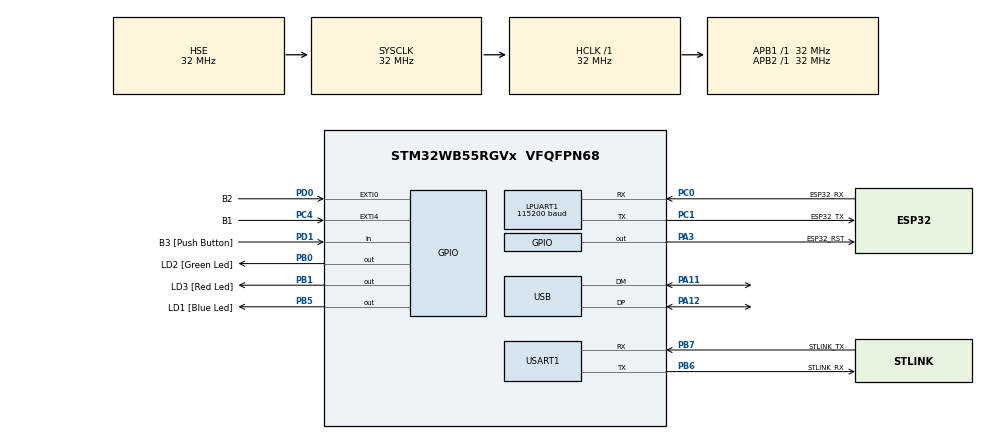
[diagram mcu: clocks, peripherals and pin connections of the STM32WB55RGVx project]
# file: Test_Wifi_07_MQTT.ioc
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ADC1.Channel-0\#ChannelRegularConversion=ADC_CHANNEL_TEMPSENSOR
ADC1.NbrOfConversionFlag=1
ADC1.OffsetNumber-0\#ChannelRegularConversion=ADC_OFFSET_NONE
ADC1.Rank-0\#ChannelRegularConversion=1
ADC1.SamplingTime-0\#ChannelRegularConversion=ADC_SAMPLETIME_640CYCLES_5
ADC1.master=1
Dma.LPUART1_RX.0.Direction=DMA_PERIPH_TO_MEMORY
Dma.LPUART1_RX.0.EventEnable=DISABLE
Dma.LPUART1_RX.0.Instance=DMA1_Channel1
Dma.LPUART1_RX.0.MemDataAlignment=DMA_MDATAALIGN_BYTE
Dma.LPUART1_RX.0.MemInc=DMA_MINC_ENABLE
Dma.LPUART1_RX.0.Mode=DMA_NORMAL
Dma.LPUART1_RX.0.PeriphDataAlignment=DMA_PDATAALIGN_BYTE
Dma.LPUART1_RX.0.PeriphInc=DMA_PINC_DISABLE
Dma.LPUART1_RX.0.Polarity=HAL_DMAMUX_REQ_GEN_RISING
Dma.LPUART1_RX.0.Priority=DMA_PRIORITY_LOW
Dma.LPUART1_RX.0.RequestNumber=1
Dma.LPUART1_RX.0.SignalID=NONE
Dma.LPUART1_RX.0.SyncEnable=DISABLE
Dma.LPUART1_RX.0.SyncPolarity=HAL_DMAMUX_SYNC_NO_EVENT
Dma.LPUART1_RX.0.SyncRequestNumber=1
Dma.LPUART1_RX.0.SyncSignalID=NONE
Dma.Request0=LPUART1_RX
LPUART1.BaudRate=115200
Mcu.Family=STM32WB
Mcu.Name=STM32WB55RGVx
Mcu.Package=VFQFPN68
NVIC.DMA1_Channel1_IRQn=true\:0\:0\:false\:false\:true\:false\:true\:true
NVIC.EXTI0_IRQn=true\:0\:0\:false\:false\:true\:true\:true\:true
NVIC.EXTI4_IRQn=true\:0\:0\:false\:false\:true\:true\:true\:true
NVIC.LPUART1_IRQn=true\:0\:0\:false\:false\:true\:true\:true\:true
NVIC.PriorityGroup=NVIC_PRIORITYGROUP_4
OSC_IN.Mode=HSE-External-Oscillator
OSC_IN.Signal=RCC_OSC_IN
OSC_OUT.Mode=HSE-External-Oscillator
OSC_OUT.Signal=RCC_OSC_OUT
PA11.Mode=Device
PA11.Signal=USB_DM
PA12.Mode=Device
PA12.Signal=USB_DP
PA13.GPIO_Label=JTMS
PA13.Mode=Trace_Asynchronous_SW
PA13.Signal=SYS_JTMS-SWDIO
PA14.GPIO_Label=JTCK
PA14.Mode=Trace_Asynchronous_SW
PA14.Signal=SYS_JTCK-SWCLK
PA3.GPIO_Label=ESP32_RST
PA3.Signal=GPIO_Output
PB0.GPIO_Label=LD2 [Green Led]
PB0.Signal=GPIO_Output
PB1.GPIO_Label=LD3 [Red Led]
PB1.Signal=GPIO_Output
PB3.GPIO_Label=JTDO
PB3.Mode=Trace_Asynchronous_SW
PB3.Signal=SYS_JTDO-SWO
PB5.GPIO_Label=LD1 [Blue Led]
PB5.Signal=GPIO_Output
PB6.GPIO_Label=STLINK_RX
PB6.GPIO_PuPd=GPIO_PULLUP
PB6.Mode=Asynchronous
PB6.Signal=USART1_TX
PB7.GPIO_Label=STLINK_TX
PB7.GPIO_PuPd=GPIO_PULLUP
PB7.Mode=Asynchronous
PB7.Signal=USART1_RX
PC0.GPIO_Label=ESP32_RX
PC0.Mode=Asynchronous
PC0.Signal=LPUART1_RX
PC1.GPIO_Label=ESP32_TX
PC1.Mode=Asynchronous
PC1.Signal=LPUART1_TX
PC13.Mode=SYS_WakeUp1
PC13.Signal=SYS_WKUP2
PC14-OSC32_IN.Mode=LSE-External-Oscillator
PC14-OSC32_IN.Signal=RCC_OSC32_IN
PC15-OSC32_OUT.Mode=LSE-External-Oscillator
PC15-OSC32_OUT.Signal=RCC_OSC32_OUT
PC4.GPIO_Label=B1
PC4.GPIO_PuPd=GPIO_PULLUP
PC4.Signal=GPXTI4
PD0.GPIO_Label=B2
PD0.GPIO_PuPd=GPIO_PULLUP
PD0.Signal=GPXTI0
PD1.GPIO_Label=B3 [Push Button]
PD1.GPIO_PuPd=GPIO_PULLUP
PD1.Signal=GPIO_Input
ProjectManager.HeapSize=0x200
ProjectManager.StackSize=0x400
ProjectManager.TargetToolchain=STM32CubeIDE
RCC.ADCFreq_Value=48000000
RCC.AHBFreq_Value=32000000
RCC.APB1Freq_Value=32000000
RCC.APB1TimFreq_Value=32000000
RCC.APB2Freq_Value=32000000
RCC.APB2TimFreq_Value=32000000
RCC.APB3Freq_Value=16000000
RCC.CortexFreq_Value=32000000
RCC.HCLKFreq_Value=32000000
RCC.HSE_VALUE=32000000
RCC.HSI48_VALUE=48000000
RCC.HSI_VALUE=16000000
RCC.LSE_Drive_Capability=RCC_LSEDRIVE_LOW
RCC.PLLN=32
RCC.PLLSAI1N=24
RCC.SMPSCLockSelectionVirtual=RCC_SMPSCLKSOURCE_HSI
RCC.SMPSCLockSelectionVirtualVirtual=RCC_SMPSCLKSOURCE_HSI
RCC.SMPSDivider=1
RCC.SYSCLKFreq_VALUE=32000000
RCC.SYSCLKSource=RCC_SYSCLKSOURCE_HSE
RCC.USBFreq_Value=48000000
RCC.VCOOutputFreq_Value=128000000
TIM17.Period=30000
TIM17.Prescaler=32000
USART1.VirtualMode-Asynchronous=VM_ASYNC
USART1.WordLength=WORDLENGTH_7B
VP_ADC1_TempSens_Input.Mode=IN-TempSens
VP_TIM17_VS_ClockSourceINT.Mode=Enable_Timer
board=NUCLEO-WB55RG

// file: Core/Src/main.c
/* USER CODE BEGIN Header */
/**
  ******************************************************************************
  * @file           : main.c
  * @brief          : Main program body
  ******************************************************************************
  * @attention
  *
  * Copyright (c) 2023 STMicroelectronics.
  * All rights reserved.
  *
  * This software is licensed under terms that can be found in the LICENSE file
  * in the root directory of this software component.
  * If no LICENSE file comes with this software, it is provided AS-IS.
  *
  ******************************************************************************
  */
/* USER CODE END Header */
#include "main.h"

/* USER CODE BEGIN Includes */
#include "stdio.h"
#include "esp8266.h"
#include "parson.h"
#include "stm32wbxx_ll_adc.h"
/* USER CODE END Includes */

/* USER CODE BEGIN PD */
typedef enum _button_interface
{
	NONE,
	B1,
	B2,
}button_interface;
/* USER CODE END PD */

ADC_HandleTypeDef hadc1;

UART_HandleTypeDef hlpuart1;
UART_HandleTypeDef huart1;
DMA_HandleTypeDef hdma_lpuart1_rx;

TIM_HandleTypeDef htim17;

PCD_HandleTypeDef hpcd_USB_FS;

/* USER CODE BEGIN PV */
uint16_t button_pushed = NONE;
/* USER CODE END PV */

void SystemClock_Config(void);
void PeriphCommonClock_Config(void);
static void MX_GPIO_Init(void);
static void MX_DMA_Init(void);
static void MX_USART1_UART_Init(void);
static void MX_USB_PCD_Init(void);
static void MX_LPUART1_UART_Init(void);
static void MX_ADC1_Init(void);
static void MX_TIM17_Init(void);

/* USER CODE BEGIN 0 */
void init_done()
{
	for(int i=0; i<3; i++)
	{
		HAL_GPIO_TogglePin(LD1_GPIO_Port, LD1_Pin);
		HAL_Delay(200);
		HAL_GPIO_TogglePin(LD2_GPIO_Port, LD2_Pin);
		HAL_Delay(200);
		HAL_GPIO_TogglePin(LD3_GPIO_Port, LD3_Pin);
		HAL_Delay(200);
	}
	HAL_GPIO_WritePin(LD1_GPIO_Port, LD1_Pin, RESET);
	HAL_GPIO_WritePin(LD2_GPIO_Port, LD2_Pin, RESET);
	HAL_GPIO_WritePin(LD3_GPIO_Port, LD3_Pin, RESET);
}

static HAL_StatusTypeDef acq_internal_temp(uint16_t *temperature)
{
	HAL_StatusTypeDef ret = HAL_OK;
	HAL_ADCEx_Calibration_Start(&hadc1, ADC_SINGLE_ENDED);
	if((ret = HAL_ADC_Start(&hadc1)) != HAL_OK)
		return ret;
	HAL_Delay(1);
	*temperature = __LL_ADC_CALC_TEMPERATURE(3300, HAL_ADC_GetValue(&hadc1), LL_ADC_RESOLUTION_12B);
	if((ret = HAL_ADC_Stop(&hadc1)) != HAL_OK)
		return ret;
	return ret;
}

static char* formate_json_button(int value)
{
	JSON_Value *val = json_value_init_object();
	if(val == NULL)
		return NULL;

	JSON_Object *obj = json_value_get_object(val);
	if(obj == NULL)
		return NULL;

	if(json_object_set_number(obj, "id", value) != JSONSuccess)
		return NULL;

	char* serialized_string = json_serialize_to_string(val);

	json_value_free(val);

	return serialized_string;
}

static char* formate_json_temp(int value)
{
	JSON_Value *val = json_value_init_object();
	if(val == NULL)
		return NULL;

	JSON_Object *obj = json_value_get_object(val);
	if(obj == NULL)
		return NULL;

	if(json_object_set_number(obj, "value", value) != JSONSuccess)
		return NULL;

	char* serialized_string = json_serialize_to_string(val);

	json_value_free(val);

	return serialized_string;
}

static int check_subscription()
{
	if (UART_ESP32_RecvEndFlag == 1) {
		char pattern[24];
		memset(pattern, 0, sizeof(pattern));
		//sprintf((char*) pattern, "+MQTTSUBRECV:0,\"isen%s/led\",", CARD_NUMBER);
		sprintf((char*) pattern, "+MQTTSUBRECV:0,\"%s/", MQTT_CLIENTID);
		uint16_t data_size = 0, off = sizeof(pattern)-1; // \0 not needed
		if (strstr((const char*) UART_ESP32_RxBUF, pattern) != NULL) {
			printf("APP: Match succeed\r\n");
			int topic_id = 0;
			// nul mais ok
			if(UART_ESP32_RxBUF[off] == 'l')
			{
				topic_id = 1;
				off+= 5;
			}
			else
			{
				topic_id = 2;
				off+= 9;
			}

			if(topic_id == 1)
			{
				data_size = atoi(&UART_ESP32_RxBUF[off]);
				if(data_size < 10)
					off+=2;
				else
					off+=3;
				uint8_t data[data_size];
				memcpy(data,&UART_ESP32_RxBUF[off],data_size);
				memset(UART_ESP32_RxBUF, 0, UART_ESP32_MAX_RECVLEN);

				UART_ESP32_RxLen = 0;
				UART_ESP32_RecvEndFlag = 0;
				HAL_UART_Receive_DMA(&hlpuart1, UART_ESP32_RxBUF, UART_ESP32_MAX_RECVLEN);

				JSON_Value *val = json_parse_string(data);
				JSON_Object *obj = json_value_get_object(val);
				int led_id = json_object_get_number (obj, "id");
				int led_state = json_object_get_number (obj, "state");
				json_value_free(val);
				switch(led_id)
				{
				case 1:
					if(led_state)
						HAL_GPIO_WritePin(LD1_GPIO_Port, LD1_Pin, SET);
					else
						HAL_GPIO_WritePin(LD1_GPIO_Port, LD1_Pin, RESET);
					break;
				case 2:
					if(led_state)
						HAL_GPIO_WritePin(LD2_GPIO_Port, LD2_Pin, SET);
					else
						HAL_GPIO_WritePin(LD2_GPIO_Port, LD2_Pin, RESET);
					break;
				case 3:
					if(led_state)
						HAL_GPIO_WritePin(LD3_GPIO_Port, LD3_Pin, SET);
					else
						HAL_GPIO_WritePin(LD3_GPIO_Port, LD3_Pin, RESET);
					break;
				default:
					printf("Bad led_id %d\n",led_id);
					break;
				}
			}
			else if(topic_id == 2)
			{
				// PUB ADC temperature
				uint16_t temp = 0;
				acq_internal_temp(&temp);
				char *data = formate_json_temp((int)temp);
				if(esp8266_Publish_Temp_BrokerMQTT((uint8_t*)data,strlen(data)) != _PUBLISH_TEMP_MQTT)
					printf("APP: TEMP esp8266_Publish_BrokerMQTT() failed\n");
				json_free_serialized_string(data);
			}
			else
				printf("topic_id unknown %d\n",topic_id);

			return 0;
		}
		else
		{
			printf("APP: Match failed\r\n");
			return -1;
		}
	}
	else
	{
		return 1;
	}
}

/* USER CODE END 0 */

int main(void)
{

  /* MCU Configuration--------------------------------------------------------*/

  /* Reset of all peripherals, Initializes the Flash interface and the Systick. */
  HAL_Init();

  /* Configure the system clock */
  SystemClock_Config();

/* Configure the peripherals common clocks */
  PeriphCommonClock_Config();

  /* Initialize all configured peripherals */
  MX_GPIO_Init();
  MX_DMA_Init();
  MX_USART1_UART_Init();
  MX_USB_PCD_Init();
  MX_LPUART1_UART_Init();
  MX_ADC1_Init();
  MX_TIM17_Init();
  /* USER CODE BEGIN 2 */
  if (esp8266_SetupIP() != _SUCCEED) {
	  printf("esp8266_SetupIP failed - RESTART and configure WIFI source\n");
	  while(1)
	  {
		  HAL_GPIO_TogglePin(LD3_GPIO_Port, LD3_Pin);
		  HAL_Delay(200);
	  }
  }

  if(esp8266_SetupConnect_BrokerMQTT() != _SUCCEED_MQTT)
  {
	  printf("esp8266_SetupConnect_BrokerMQTT failed - RESTART and configure MQTT\n");
	  while(1)
	  {
		  HAL_GPIO_TogglePin(LD3_GPIO_Port, LD3_Pin);
		  HAL_Delay(200);
	  }
  }
  /* USER CODE END 2 */

  /* Infinite loop */
  while (1)
  {

    /* USER CODE BEGIN 3 */
	  init_done();
	  //click button to start
	  printf("Waiting to start...\n");
	  while(HAL_GPIO_ReadPin(B3_GPIO_Port, B3_Pin) != GPIO_PIN_RESET)
	  {
		  HAL_GPIO_TogglePin(LD1_GPIO_Port, LD1_Pin);
		  HAL_Delay(100);
	  }
	  HAL_GPIO_WritePin(LD1_GPIO_Port, LD1_Pin, RESET);

	  printf("App started...\n");

	  // app part
	  while(1)
	  {
		  if(get_mqtt_state() < _SUBSCRIBED_LED_MQTT)
		  {
			  if(esp8266_Subscribe_Led_BrokerMQTT() != _SUBSCRIBED_LED_MQTT)
				printf("APP: esp8266_Subscribe_Led_BrokerMQTT() failed\n");
		  }
		  if(get_mqtt_state() < _SUBSCRIBED_TEMP_MQTT)
		  {
			  if(esp8266_Subscribe_Temp_BrokerMQTT() != _SUBSCRIBED_TEMP_MQTT)
		  		printf("APP: esp8266_Subscribe_Temp_BrokerMQTT() failed\n");
		  }

		  //
		  switch(button_pushed)
		  {
		  case B1:
		  {
			  char *data = formate_json_button(1);
			  if(esp8266_Publish_Button_BrokerMQTT((uint8_t*)data,strlen(data)) != _PUBLISH_BUTTON_MQTT)
				printf("APP: B1 esp8266_Publish_Button_BrokerMQTT() failed\n");
			  json_free_serialized_string(data);
		  }
			  break;
		  case B2:
		  {
			  char *data = formate_json_button(2);
			  if(esp8266_Publish_Button_BrokerMQTT((uint8_t*)data,strlen(data)) != _PUBLISH_BUTTON_MQTT)
				printf("APP: B2 esp8266_Publish_Button_BrokerMQTT() failed\n");
		  }
			  break;
		  }
		  button_pushed = NONE;

		  int sub_status = check_subscription();
		  if(sub_status == 0)
			  printf("APP: check_subscription() SUB MQTT RCV\n");
	  }
  }
  /* USER CODE END 3 */
}

void SystemClock_Config(void)
{
  RCC_OscInitTypeDef RCC_OscInitStruct = {0};
  RCC_ClkInitTypeDef RCC_ClkInitStruct = {0};

  /** Macro to configure the PLL multiplication factor
  */
  __HAL_RCC_PLL_PLLM_CONFIG(RCC_PLLM_DIV1);

  /** Macro to configure the PLL clock source
  */
  __HAL_RCC_PLL_PLLSOURCE_CONFIG(RCC_PLLSOURCE_MSI);

  /** Configure LSE Drive Capability
  */
  HAL_PWR_EnableBkUpAccess();
  __HAL_RCC_LSEDRIVE_CONFIG(RCC_LSEDRIVE_LOW);

  /** Configure the main internal regulator output voltage
  */
  __HAL_PWR_VOLTAGESCALING_CONFIG(PWR_REGULATOR_VOLTAGE_SCALE1);

  /** Initializes the RCC Oscillators according to the specified parameters
  * in the RCC_OscInitTypeDef structure.
  */
  RCC_OscInitStruct.OscillatorType = RCC_OSCILLATORTYPE_HSI|RCC_OSCILLATORTYPE_HSE
                              |RCC_OSCILLATORTYPE_LSE|RCC_OSCILLATORTYPE_MSI;
  RCC_OscInitStruct.HSEState = RCC_HSE_ON;
  RCC_OscInitStruct.LSEState = RCC_LSE_ON;
  RCC_OscInitStruct.HSIState = RCC_HSI_ON;
  RCC_OscInitStruct.MSIState = RCC_MSI_ON;
  RCC_OscInitStruct.HSICalibrationValue = RCC_HSICALIBRATION_DEFAULT;
  RCC_OscInitStruct.MSICalibrationValue = RCC_MSICALIBRATION_DEFAULT;
  RCC_OscInitStruct.MSIClockRange = RCC_MSIRANGE_6;
  RCC_OscInitStruct.PLL.PLLState = RCC_PLL_NONE;
  if (HAL_RCC_OscConfig(&RCC_OscInitStruct) != HAL_OK)
  {
    Error_Handler();
  }

  /** Configure the SYSCLKSource, HCLK, PCLK1 and PCLK2 clocks dividers
  */
  RCC_ClkInitStruct.ClockType = RCC_CLOCKTYPE_HCLK4|RCC_CLOCKTYPE_HCLK2
                              |RCC_CLOCKTYPE_HCLK|RCC_CLOCKTYPE_SYSCLK
                              |RCC_CLOCKTYPE_PCLK1|RCC_CLOCKTYPE_PCLK2;
  RCC_ClkInitStruct.SYSCLKSource = RCC_SYSCLKSOURCE_HSE;
  RCC_ClkInitStruct.AHBCLKDivider = RCC_SYSCLK_DIV1;
  RCC_ClkInitStruct.APB1CLKDivider = RCC_HCLK_DIV1;
  RCC_ClkInitStruct.APB2CLKDivider = RCC_HCLK_DIV1;
  RCC_ClkInitStruct.AHBCLK2Divider = RCC_SYSCLK_DIV1;
  RCC_ClkInitStruct.AHBCLK4Divider = RCC_SYSCLK_DIV1;

  if (HAL_RCC_ClockConfig(&RCC_ClkInitStruct, FLASH_LATENCY_1) != HAL_OK)
  {
    Error_Handler();
  }

  /** Enable MSI Auto calibration
  */
  HAL_RCCEx_EnableMSIPLLMode();
}

void PeriphCommonClock_Config(void)
{
  RCC_PeriphCLKInitTypeDef PeriphClkInitStruct = {0};

  /** Initializes the peripherals clock
  */
  PeriphClkInitStruct.PeriphClockSelection = RCC_PERIPHCLK_SMPS|RCC_PERIPHCLK_USB
                              |RCC_PERIPHCLK_ADC;
  PeriphClkInitStruct.PLLSAI1.PLLN = 24;
  PeriphClkInitStruct.PLLSAI1.PLLP = RCC_PLLP_DIV2;
  PeriphClkInitStruct.PLLSAI1.PLLQ = RCC_PLLQ_DIV2;
  PeriphClkInitStruct.PLLSAI1.PLLR = RCC_PLLR_DIV2;
  PeriphClkInitStruct.PLLSAI1.PLLSAI1ClockOut = RCC_PLLSAI1_USBCLK|RCC_PLLSAI1_ADCCLK;
  PeriphClkInitStruct.UsbClockSelection = RCC_USBCLKSOURCE_PLLSAI1;
  PeriphClkInitStruct.AdcClockSelection = RCC_ADCCLKSOURCE_PLLSAI1;
  PeriphClkInitStruct.SmpsClockSelection = RCC_SMPSCLKSOURCE_HSI;
  PeriphClkInitStruct.SmpsDivSelection = RCC_SMPSCLKDIV_RANGE0;

  if (HAL_RCCEx_PeriphCLKConfig(&PeriphClkInitStruct) != HAL_OK)
  {
    Error_Handler();
  }
}

static void MX_ADC1_Init(void)
{

  ADC_ChannelConfTypeDef sConfig = {0};

  /** Common config
  */
  hadc1.Instance = ADC1;
  hadc1.Init.ClockPrescaler = ADC_CLOCK_ASYNC_DIV1;
  hadc1.Init.Resolution = ADC_RESOLUTION_12B;
  hadc1.Init.DataAlign = ADC_DATAALIGN_RIGHT;
  hadc1.Init.ScanConvMode = ADC_SCAN_DISABLE;
  hadc1.Init.EOCSelection = ADC_EOC_SINGLE_CONV;
  hadc1.Init.LowPowerAutoWait = DISABLE;
  hadc1.Init.ContinuousConvMode = DISABLE;
  hadc1.Init.NbrOfConversion = 1;
  hadc1.Init.DiscontinuousConvMode = DISABLE;
  hadc1.Init.ExternalTrigConv = ADC_SOFTWARE_START;
  hadc1.Init.ExternalTrigConvEdge = ADC_EXTERNALTRIGCONVEDGE_NONE;
  hadc1.Init.DMAContinuousRequests = DISABLE;
  hadc1.Init.Overrun = ADC_OVR_DATA_PRESERVED;
  hadc1.Init.OversamplingMode = DISABLE;
  if (HAL_ADC_Init(&hadc1) != HAL_OK)
  {
    Error_Handler();
  }

  /** Configure Regular Channel
  */
  sConfig.Channel = ADC_CHANNEL_TEMPSENSOR;
  sConfig.Rank = ADC_REGULAR_RANK_1;
  sConfig.SamplingTime = ADC_SAMPLETIME_640CYCLES_5;
  sConfig.SingleDiff = ADC_SINGLE_ENDED;
  sConfig.OffsetNumber = ADC_OFFSET_NONE;
  sConfig.Offset = 0;
  if (HAL_ADC_ConfigChannel(&hadc1, &sConfig) != HAL_OK)
  {
    Error_Handler();
  }

}

static void MX_LPUART1_UART_Init(void)
{

  hlpuart1.Instance = LPUART1;
  hlpuart1.Init.BaudRate = 115200;
  hlpuart1.Init.WordLength = UART_WORDLENGTH_8B;
  hlpuart1.Init.StopBits = UART_STOPBITS_1;
  hlpuart1.Init.Parity = UART_PARITY_NONE;
  hlpuart1.Init.Mode = UART_MODE_TX_RX;
  hlpuart1.Init.HwFlowCtl = UART_HWCONTROL_NONE;
  hlpuart1.Init.OneBitSampling = UART_ONE_BIT_SAMPLE_DISABLE;
  hlpuart1.Init.ClockPrescaler = UART_PRESCALER_DIV1;
  hlpuart1.AdvancedInit.AdvFeatureInit = UART_ADVFEATURE_NO_INIT;
  hlpuart1.FifoMode = UART_FIFOMODE_DISABLE;
  if (HAL_UART_Init(&hlpuart1) != HAL_OK)
  {
    Error_Handler();
  }
  if (HAL_UARTEx_SetTxFifoThreshold(&hlpuart1, UART_TXFIFO_THRESHOLD_1_8) != HAL_OK)
  {
    Error_Handler();
  }
  if (HAL_UARTEx_SetRxFifoThreshold(&hlpuart1, UART_RXFIFO_THRESHOLD_1_8) != HAL_OK)
  {
    Error_Handler();
  }
  if (HAL_UARTEx_DisableFifoMode(&hlpuart1) != HAL_OK)
  {
    Error_Handler();
  }
  /* USER CODE BEGIN LPUART1_Init 2 */
  __HAL_UART_ENABLE_IT(&hlpuart1, UART_IT_IDLE);
  	HAL_UART_Receive_DMA(&hlpuart1, UART_ESP32_RxBUF, UART_ESP32_MAX_RECVLEN);
  /* USER CODE END LPUART1_Init 2 */

}

static void MX_USART1_UART_Init(void)
{

  huart1.Instance = USART1;
  huart1.Init.BaudRate = 115200;
  huart1.Init.WordLength = UART_WORDLENGTH_7B;
  huart1.Init.StopBits = UART_STOPBITS_1;
  huart1.Init.Parity = UART_PARITY_NONE;
  huart1.Init.Mode = UART_MODE_TX_RX;
  huart1.Init.HwFlowCtl = UART_HWCONTROL_NONE;
  huart1.Init.OverSampling = UART_OVERSAMPLING_16;
  huart1.Init.OneBitSampling = UART_ONE_BIT_SAMPLE_DISABLE;
  huart1.Init.ClockPrescaler = UART_PRESCALER_DIV1;
  huart1.AdvancedInit.AdvFeatureInit = UART_ADVFEATURE_NO_INIT;
  if (HAL_UART_Init(&huart1) != HAL_OK)
  {
    Error_Handler();
  }
  if (HAL_UARTEx_SetTxFifoThreshold(&huart1, UART_TXFIFO_THRESHOLD_1_8) != HAL_OK)
  {
    Error_Handler();
  }
  if (HAL_UARTEx_SetRxFifoThreshold(&huart1, UART_RXFIFO_THRESHOLD_1_8) != HAL_OK)
  {
    Error_Handler();
  }
  if (HAL_UARTEx_DisableFifoMode(&huart1) != HAL_OK)
  {
    Error_Handler();
  }

}

static void MX_TIM17_Init(void)
{

  htim17.Instance = TIM17;
  htim17.Init.Prescaler = 32000;
  htim17.Init.CounterMode = TIM_COUNTERMODE_UP;
  htim17.Init.Period = 30000;
  htim17.Init.ClockDivision = TIM_CLOCKDIVISION_DIV1;
  htim17.Init.RepetitionCounter = 0;
  htim17.Init.AutoReloadPreload = TIM_AUTORELOAD_PRELOAD_DISABLE;
  if (HAL_TIM_Base_Init(&htim17) != HAL_OK)
  {
    Error_Handler();
  }

}

static void MX_USB_PCD_Init(void)
{

  hpcd_USB_FS.Instance = USB;
  hpcd_USB_FS.Init.dev_endpoints = 8;
  hpcd_USB_FS.Init.speed = PCD_SPEED_FULL;
  hpcd_USB_FS.Init.phy_itface = PCD_PHY_EMBEDDED;
  hpcd_USB_FS.Init.Sof_enable = DISABLE;
  hpcd_USB_FS.Init.low_power_enable = DISABLE;
  hpcd_USB_FS.Init.lpm_enable = DISABLE;
  hpcd_USB_FS.Init.battery_charging_enable = DISABLE;
  if (HAL_PCD_Init(&hpcd_USB_FS) != HAL_OK)
  {
    Error_Handler();
  }

}

static void MX_DMA_Init(void)
{

  /* DMA controller clock enable */
  __HAL_RCC_DMAMUX1_CLK_ENABLE();
  __HAL_RCC_DMA1_CLK_ENABLE();

  /* DMA interrupt init */
  /* DMA1_Channel1_IRQn interrupt configuration */
  HAL_NVIC_SetPriority(DMA1_Channel1_IRQn, 0, 0);
  HAL_NVIC_EnableIRQ(DMA1_Channel1_IRQn);

}

static void MX_GPIO_Init(void)
{
  GPIO_InitTypeDef GPIO_InitStruct = {0};

  /* GPIO Ports Clock Enable */
  __HAL_RCC_GPIOC_CLK_ENABLE();
  __HAL_RCC_GPIOA_CLK_ENABLE();
  __HAL_RCC_GPIOB_CLK_ENABLE();
  __HAL_RCC_GPIOD_CLK_ENABLE();

  /*Configure GPIO pin Output Level */
  HAL_GPIO_WritePin(ESP32_RST_GPIO_Port, ESP32_RST_Pin, GPIO_PIN_RESET);

  /*Configure GPIO pin Output Level */
  HAL_GPIO_WritePin(GPIOB, LD2_Pin|LD3_Pin|LD1_Pin, GPIO_PIN_RESET);

  /*Configure GPIO pin : ESP32_RST_Pin */
  GPIO_InitStruct.Pin = ESP32_RST_Pin;
  GPIO_InitStruct.Mode = GPIO_MODE_OUTPUT_PP;
  GPIO_InitStruct.Pull = GPIO_NOPULL;
  GPIO_InitStruct.Speed = GPIO_SPEED_FREQ_LOW;
  HAL_GPIO_Init(ESP32_RST_GPIO_Port, &GPIO_InitStruct);

  /*Configure GPIO pin : B1_Pin */
  GPIO_InitStruct.Pin = B1_Pin;
  GPIO_InitStruct.Mode = GPIO_MODE_IT_RISING;
  GPIO_InitStruct.Pull = GPIO_PULLUP;
  HAL_GPIO_Init(B1_GPIO_Port, &GPIO_InitStruct);

  /*Configure GPIO pins : LD2_Pin LD3_Pin LD1_Pin */
  GPIO_InitStruct.Pin = LD2_Pin|LD3_Pin|LD1_Pin;
  GPIO_InitStruct.Mode = GPIO_MODE_OUTPUT_PP;
  GPIO_InitStruct.Pull = GPIO_NOPULL;
  GPIO_InitStruct.Speed = GPIO_SPEED_FREQ_LOW;
  HAL_GPIO_Init(GPIOB, &GPIO_InitStruct);

  /*Configure GPIO pin : B2_Pin */
  GPIO_InitStruct.Pin = B2_Pin;
  GPIO_InitStruct.Mode = GPIO_MODE_IT_RISING;
  GPIO_InitStruct.Pull = GPIO_PULLUP;
  HAL_GPIO_Init(B2_GPIO_Port, &GPIO_InitStruct);

  /*Configure GPIO pin : B3_Pin */
  GPIO_InitStruct.Pin = B3_Pin;
  GPIO_InitStruct.Mode = GPIO_MODE_INPUT;
  GPIO_InitStruct.Pull = GPIO_PULLUP;
  HAL_GPIO_Init(B3_GPIO_Port, &GPIO_InitStruct);

  /* EXTI interrupt init*/
  HAL_NVIC_SetPriority(EXTI0_IRQn, 0, 0);
  HAL_NVIC_EnableIRQ(EXTI0_IRQn);

  HAL_NVIC_SetPriority(EXTI4_IRQn, 0, 0);
  HAL_NVIC_EnableIRQ(EXTI4_IRQn);

}

/* USER CODE BEGIN 4 */
void HAL_UART_RxCpltCallback(UART_HandleTypeDef *huart)
{
	printf("CALLBACK LPUART\n");
}

int _write(int file, char *ptr, int len)
{
	int DataIdx;

	for (DataIdx = 0; DataIdx < len; DataIdx++)
	{
	//__io_putchar(*ptr++);
	ITM_SendChar(*ptr++);
	}
	return len;
}

void HAL_GPIO_EXTI_Callback(uint16_t GPIO_Pin)
{
	switch(GPIO_Pin)
	{
	case B1_Pin:
		button_pushed = B1;
		break;
	case B2_Pin:
		button_pushed = B2;
		break;
	}
}
/* USER CODE END 4 */

void Error_Handler(void)
{
  __disable_irq();
  while (1)
  {
  }
}
